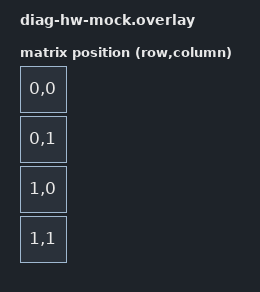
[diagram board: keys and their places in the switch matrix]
/*
 * Hardware validation build (DESIGN.md SS8/SS9 Phase E): replace tester_xiao's
 * baseline direct kscan with zmk,kscan-mock so the kscan diagnostics RPC
 * chain (Info/Layout/Device/GpioPins/PositionMap/Stats) can be exercised over
 * real USB Studio RPC without any physical switches wired to the XIAO.
 *
 * Topology mirrors tests/test.dtsi's native_sim mock fixture (2x2 matrix
 * transform, 4-key physical layout) so most RPC responses are known ahead of
 * time from the already-passing native_sim test. Unlike the native_sim
 * fixture, this one has no `exit-after` -- the mock plays its event list
 * exactly once and then goes idle (kscan_mock_schedule_next_event simply
 * stops rescheduling once the list is exhausted, see
 * dependencies/zmk/app/module/drivers/kscan/kscan_mock.c); there is no "loop
 * forever" primitive in the DT event list itself, so a single pass is all a
 * real device gets per boot. Reset the board (`r`+`go` over J-Link) to replay
 * the script whenever a fresh RPC session needs fresh events.
 *
 * IMPORTANT -- zmk,kscan-mock's `events` array has a one-event-behind timing
 * quirk that is easy to get wrong (bit us during Phase E hardware validation,
 * see docs/validation.md): `kscan_mock_work_handler` fires `events[event_index]`
 * and then calls `kscan_mock_schedule_next_event(dev)` *before* incrementing
 * `event_index`, so that call re-reads the just-fired event's own delay field
 * to arm the timer for the *next* event. Net effect: `events[0]`'s delay is
 * consumed twice (once for event 0's own initial delay, once -- redundantly
 * -- for the delay before event 1), every other `events[i]`'s delay controls
 * the wait before event `i+1` (not event `i`), and the last event's own delay
 * field is never consumed (no event follows it). Concretely: if
 * T[i] = real firing time of events[i], then `T[0] = events[0].delay` and
 * `T[1] = T[0] + events[0].delay` (so T[1] is forced to be exactly 2*T[0]),
 * then `T[i] = T[i-1] + events[i-1].delay` for i >= 2. tests/test.dtsi's
 * fixture happens to still pass its own assertions under this shifted timing
 * (its tolerant ranges absorb the shift), which is why this was not caught
 * before hardware testing.
 *
 * To get sane real firing times despite `events[0]` being double-consumed,
 * event 0/1 here are a throwaway "warm-up" press/release on position (1,1)
 * (= position 3, otherwise unused by any assertion) whose own timing nobody
 * cares about; the real test sequence starts at event index 2, where the
 * mapping from `events[i].delay` to "wait before event i+1" is a clean 1:1
 * relationship. Real (observed, hardware-confirmed 2026-07-05) timeline:
 *   t=  500 P(1,1)  warm-up press   (position 3, ignored)
 *   t= 1000 R(1,1)  warm-up release (forced to 2x the warm-up press delay)
 *   t= 4000 P(0,0)                  (3s clear of the warm-up + any residual
 *                                    boot-time workqueue contention --
 *                                    BLE/USB/battery-voltage-divider init
 *                                    compete for the same workqueue mock
 *                                    events run on, which measured ~170-200ms
 *                                    of scheduling jitter on this rig when a
 *                                    chatter pair was scripted in the first
 *                                    500ms of boot -- native_sim has no such
 *                                    contention, hence its much smaller ~6ms
 *                                    jitter budget)
 *   t= 4200 R(0,0)  hold=200ms
 *   t= 4230 P(0,0)  repress gap=30ms -> chatter, "<50ms" bucket
 *   t= 4430 R(0,0)  hold=200ms
 *   t= 4730 P(0,1)  gap=300ms from the last (0,0) release -> not chatter
 *   t= 4930 R(0,1)  hold=200ms
 * Expected stats: position 0 presses=2 releases=2 min_press_duration_ms=200
 * min_repress_gap_ms=30 repress_lt50=1; position 1 presses=1 releases=1
 * min_press_duration_ms=200 min_repress_gap_ms=65535 (no repress observed);
 * position 3 presses=1 releases=1 (from the warm-up pair, hold~500ms) --
 * harmless since nothing asserts on position 3.
 */

/delete-node/ &kscan0;

#include <physical_layouts.dtsi>
#include <dt-bindings/zmk/kscan_mock.h>
#include <dt-bindings/zmk/matrix_transform.h>

/ {
	kscan0: kscan {
		compatible = "zmk,kscan-mock";
		rows = <2>;
		columns = <2>;
		events = <
		ZMK_MOCK_PRESS(1,1,500)
		ZMK_MOCK_RELEASE(1,1,3000)
		ZMK_MOCK_PRESS(0,0,200)
		ZMK_MOCK_RELEASE(0,0,30)
		ZMK_MOCK_PRESS(0,0,200)
		ZMK_MOCK_RELEASE(0,0,300)
		ZMK_MOCK_PRESS(0,1,200)
		ZMK_MOCK_RELEASE(0,1,0)
		>;
	};

	chosen {
		zmk,kscan = &kscan0;
		zmk,physical-layout = &diag_hw_mock_physical_layout;
	};

	diag_hw_mock_physical_layout: diag_hw_mock_physical_layout {
		compatible = "zmk,physical-layout";
		display-name = "Diag HW Mock Layout";
		keys
		= <&key_physical_attrs 100 100    0    0      0    0    0>
		, <&key_physical_attrs 100 100    0  100      0    0    0>
		, <&key_physical_attrs 100 100    0  200      0    0    0>
		, <&key_physical_attrs 100 100    0  300      0    0    0>
		;
		transform = <&diag_hw_mock_transform>;
	};

	diag_hw_mock_transform: diag_hw_mock_transform {
		compatible = "zmk,matrix-transform";
		columns = <2>;
		rows = <2>;
		map = <
		RC(0,0)  RC(0,1)  RC(1,0)  RC(1, 1)
		>;
	};
};
